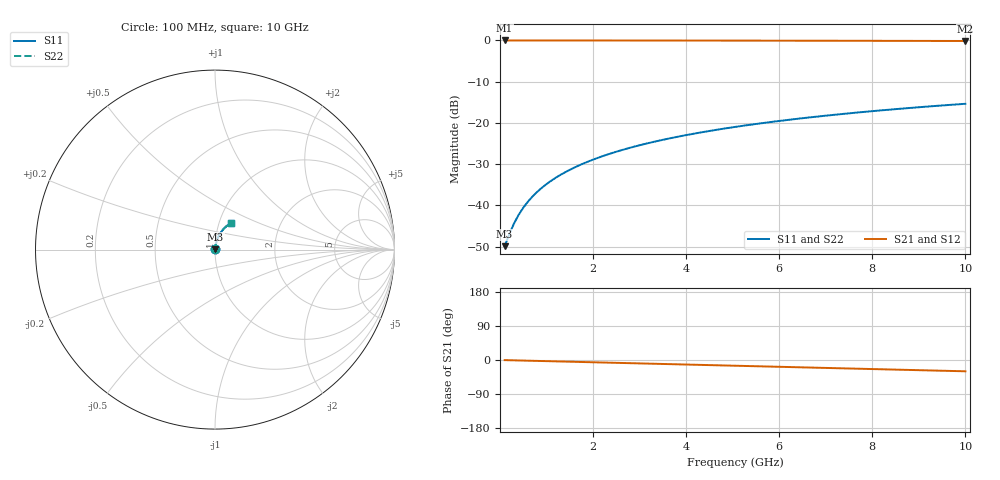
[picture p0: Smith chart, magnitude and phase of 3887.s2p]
# Hz S RI R 50.00
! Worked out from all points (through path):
!   100 points, 100 MHz to 10 GHz, reference 50 ohm
!   highest |S21| = -0.02 dB at 100 MHz (marker M1); lowest = -0.2 dB at 10 GHz (marker M2)
!   group delay of S21, straight-line fit = 8.29 ps
!   lowest |S11| = -49.9 dB at 100 MHz (marker M3), VSWR 1.01, Z = 50.3 + j0.179 ohm
!   |S11| at or under -10 dB: start of sweep to end of sweep
!   |S22| runs from -49.9 to -15.4 dB; largest |S21 - S12| = 0
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1e8  0.00266 0.00178  0.9973 -0.00521  0.9973 -0.00521  0.00266 0.00178
2e8  0.0027 0.00355  0.9973 -0.0104  0.9973 -0.0104  0.0027 0.00355
3e8  0.00276 0.00533  0.9972 -0.0156  0.9972 -0.0156  0.00276 0.00533
4e8  0.00284 0.0071  0.9971 -0.0208  0.9971 -0.0208  0.00284 0.0071
5e8  0.00293 0.00887  0.9969 -0.026  0.9969 -0.026  0.00293 0.00887
6e8  0.00304 0.0106  0.9967 -0.0312  0.9967 -0.0312  0.00304 0.0106
7e8  0.00316 0.0124  0.9965 -0.0364  0.9965 -0.0364  0.00316 0.0124
9e8  0.00347 0.016  0.996 -0.0469  0.996 -0.0469  0.00347 0.016
1e9  0.00365 0.0177  0.9957 -0.052  0.9957 -0.052  0.00365 0.0177
1.2e9  0.00407 0.0212  0.995 -0.0624  0.995 -0.0624  0.00407 0.0212
1.5e9  0.00482 0.0265  0.9938 -0.078  0.9938 -0.078  0.00482 0.0265
1.8e9  0.00575 0.0318  0.9923 -0.0936  0.9923 -0.0936  0.00575 0.0318
2.1e9  0.00683 0.037  0.9905 -0.1091  0.9905 -0.1091  0.00683 0.037
2.5e9  0.00853 0.0438  0.9877 -0.1297  0.9877 -0.1297  0.00853 0.0438
2.9e9  0.0105 0.0506  0.9844 -0.1502  0.9844 -0.1502  0.0105 0.0506
3.4e9  0.0134 0.059  0.9796 -0.1758  0.9796 -0.1758  0.0134 0.059
4.2e9  0.0189 0.0721  0.9705 -0.2163  0.9705 -0.2163  0.0189 0.0721
5.1e9  0.0263 0.0861  0.958 -0.2612  0.958 -0.2612  0.0263 0.0861
5.9e9  0.034 0.098  0.945 -0.3005  0.945 -0.3005  0.034 0.098
6.7e9  0.0427 0.1091  0.9303 -0.339  0.9303 -0.339  0.0427 0.1091
8.4e9  0.0639 0.1302  0.8934 -0.4181  0.8934 -0.4181  0.0639 0.1302
1e10  0.0869 0.1463  0.8523 -0.4884  0.8523 -0.4884  0.0869 0.1463
